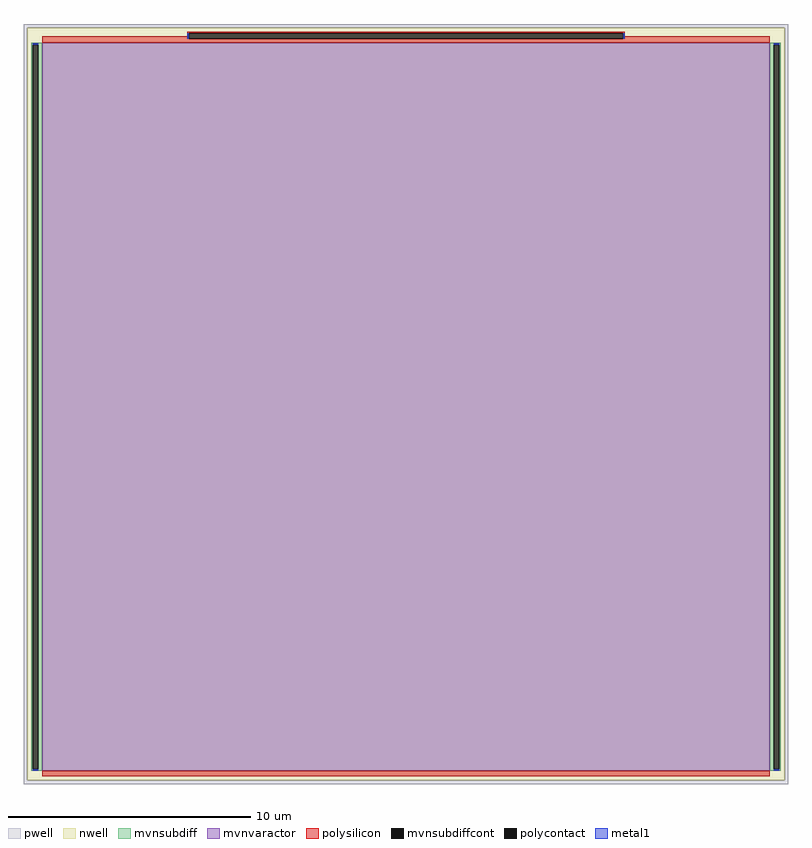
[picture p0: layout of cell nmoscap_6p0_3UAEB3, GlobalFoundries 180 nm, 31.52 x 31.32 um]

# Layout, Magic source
magic
tech gf180mcuD
magscale 1 10
<< nwell >>
rect -3120 -3100 3120 3100
<< pwell >>
rect -3152 3100 3152 3132
rect -3152 -3100 -3120 3100
rect 3120 -3100 3152 3100
rect -3152 -3132 3152 -3100
<< mvnsubdiff >>
rect -3088 2963 -3000 2976
rect -3088 -3011 -3075 2963
rect -3029 -3011 -3000 2963
rect -3088 -3024 -3000 -3011
rect 3000 2963 3088 2976
rect 3000 -3011 3029 2963
rect 3075 -3011 3088 2963
rect 3000 -3024 3088 -3011
<< mvnsubdiffcont >>
rect -3075 -3011 -3029 2963
rect 3029 -3011 3075 2963
<< mvnvaractor >>
rect -3000 -3024 3000 2976
<< polysilicon >>
rect -1805 3055 1805 3068
rect -1805 3032 -1792 3055
rect -3000 3009 -1792 3032
rect 1792 3032 1805 3055
rect 1792 3009 3000 3032
rect -3000 2976 3000 3009
rect -3000 -3068 3000 -3024
<< polycontact >>
rect -1792 3009 1792 3055
<< metal1 >>
rect -1803 3009 -1792 3055
rect 1792 3009 1803 3055
rect -3075 2963 -3029 2974
rect -3075 -3022 -3029 -3011
rect 3029 2963 3075 2974
rect 3029 -3022 3075 -3011
<< properties >>
string gencell nmoscap_6p0
string library gf180mcu
string parameters w 30 l 30 m 1 nf 1 diffcov 100 polycov 60 guard 0 glc 0 grc 0 gtc 0 gbc 0 tbcov 100 rlcov 100 topc 1 botc 0 poverlap 0 doverlap 1 lmin 0.28 wmin 0.3 class mosfet full_metal 0 compatible {nmoscap_3p3 nmoscap_6p0}
<< end >>
